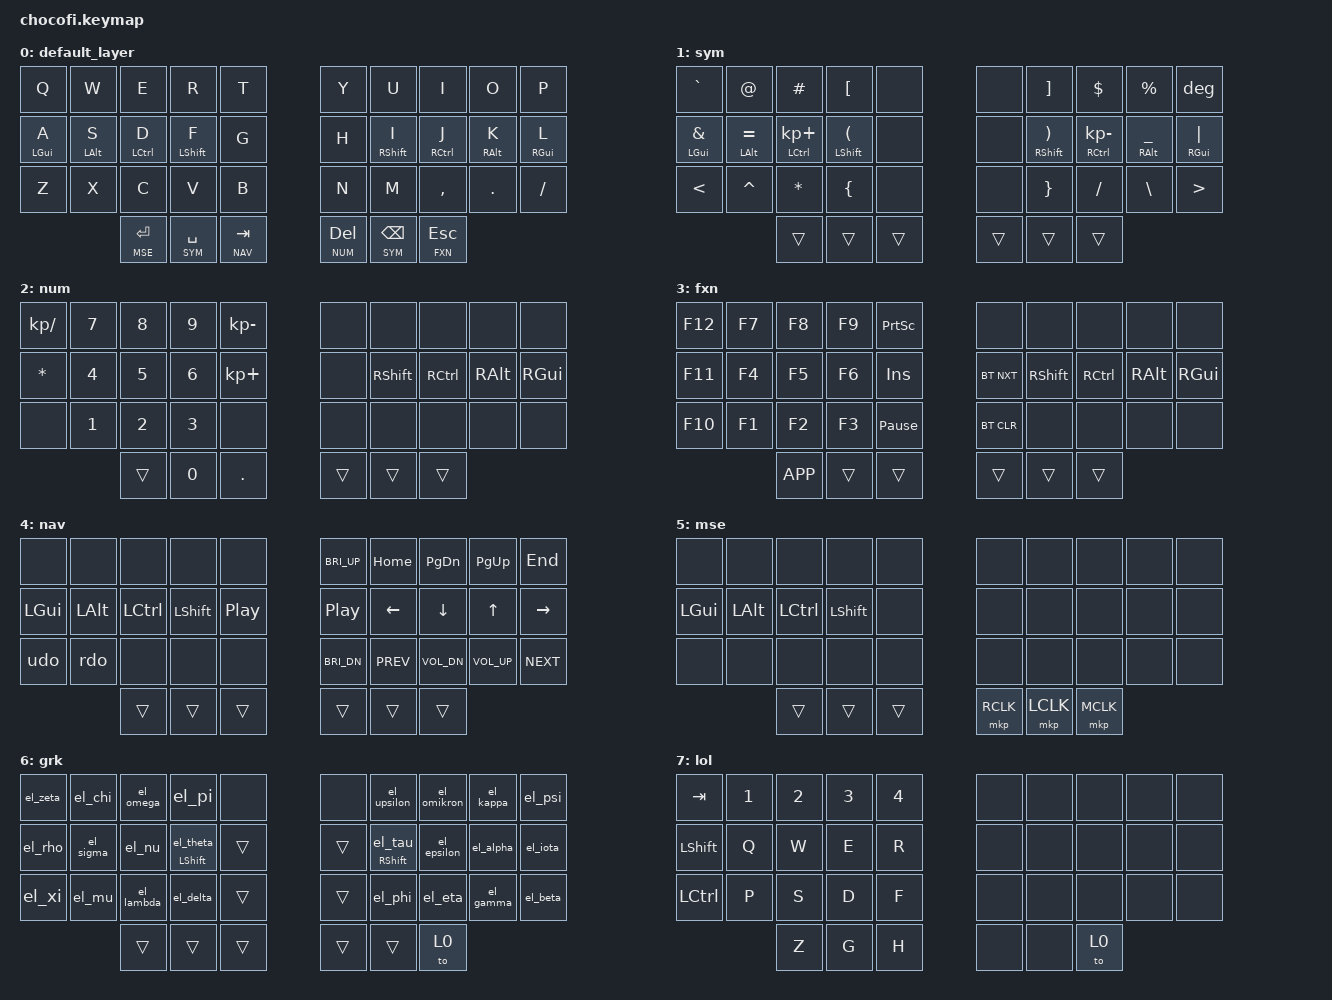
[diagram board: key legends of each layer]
#include <behaviors.dtsi>
#include <dt-bindings/zmk/keys.h>
#include <dt-bindings/zmk/bt.h>
#include <dt-bindings/zmk/mouse.h>
#include "helper.h"
#include "greek.dtsi"

#define DEFAULT	0
#define SYM	1
#define NUM	2
#define FXN	3
#define NAV	4
#define MSE	5
#define GRK	6
#define LOL	7

/ {
	macros {
		deg: deg {
			label = "deg";
			compatible = "zmk,behavior-macro";
			#binding-cells = <0>;
			bindings
				= <&macro_release &kp LSHFT>
				, <&macro_press   &kp LALT>
				, <&macro_tap     &kp KP_N0 &kp KP_N1 &kp KP_N7 &kp KP_N6>
				, <&macro_release &kp LALT>
				;
		};
		udo: udo {
			label = "udo";
			compatible = "zmk,behavior-macro";
			#binding-cells = <0>;
			bindings
				= <&macro_press   &kp LCTRL>
				, <&macro_tap     &kp Z>
				, <&macro_release &kp LCTRL>
				;
		};
		rdo: rdo {
			label = "rdo";
			compatible = "zmk,behavior-macro";
			#binding-cells = <0>;
			bindings
				= <&macro_press   &kp LCTRL>
				, <&macro_tap     &kp Y>
				, <&macro_release &kp LCTRL>
				;
		};
		altf4: altf4 {
			label = "altf4";
			compatible = "zmk,behavior-macro";
			#binding-cells = <0>;
			bindings
				= <&macro_press   &kp LALT>
				, <&macro_tap     &kp F4>
				, <&macro_release &kp LALT>
				;
		};
		th: th {
			label = "th";
			compatible = "zmk,behavior-macro";
			#binding-cells = <0>;
			bindings
				= <&macro_tap     &kp T>
				, <&macro_release &kp RSHFT>
				, <&macro_tap     &kp H>
				;
		};
		wh: wh {
			label = "wh";
			compatible = "zmk,behavior-macro";
			#binding-cells = <0>;
			bindings
				= <&macro_tap     &kp W>
				, <&macro_release &kp RSHFT>
				, <&macro_tap     &kp H>
				;
		};
		ch: ch {
			label = "ch";
			compatible = "zmk,behavior-macro";
			#binding-cells = <0>;
			bindings
				= <&macro_tap     &kp C>
				, <&macro_release &kp RSHFT>
				, <&macro_tap     &kp H>
				;
		};
		sh: sh {
			label = "sh";
			compatible = "zmk,behavior-macro";
			#binding-cells = <0>;
			bindings
				= <&macro_tap     &kp S>
				, <&macro_release &kp RSHFT>
				, <&macro_tap     &kp H>
				;
		};
		ph: ph {
			label = "ph";
			compatible = "zmk,behavior-macro";
			#binding-cells = <0>;
			bindings
				= <&macro_tap     &kp P>
				, <&macro_release &kp RSHFT>
				, <&macro_tap     &kp H>
				;
		};
		gh: gh {
			label = "gh";
			compatible = "zmk,behavior-macro";
			#binding-cells = <0>;
			bindings
				= <&macro_tap     &kp G>
				, <&macro_release &kp LSHFT>
				, <&macro_tap     &kp H>
				;
		};
		qu: qu {
			label = "qu";
			compatible = "zmk,behavior-macro";
			#binding-cells = <0>;
			bindings
				= <&macro_tap     &kp Q>
				, <&macro_release &kp LSHFT>
				, <&macro_tap     &kp U>
				;
		};
		ing: ing {
			label = "ing";
			compatible = "zmk,behavior-macro";
			#binding-cells = <0>;
			bindings
				= <&macro_tap     &kp I &kp N &kp G>
				;
		};
	};
	combos {
		compatible = "zmk,combos";
		combo_ch {
			timeout-ms = <30>;
			key-positions = <0 1>;
			bindings = <&ch>;
			};
		combo_wh {
			timeout-ms = <30>;
			key-positions = <1 2>;
			bindings = <&wh>;
			};
		combo_ph {
			timeout-ms = <30>;
			key-positions = <2 3>;
			bindings = <&ph>;
			};
		combo_sh {
			timeout-ms = <30>;
			key-positions = <10 11>;
			bindings = <&sh>;
			};
		combo_th {
			timeout-ms = <30>;
			key-positions = <12 13>;
			bindings = <&th>;
			};
		combo_gh {
			timeout-ms = <30>;
			key-positions = <28 29>;
			bindings = <&gh>;
			};
		combo_qu {
			timeout-ms = <30>;
			key-positions = <8 9>;
			bindings = <&qu>;
			};
		combo_ing {
			timeout-ms = <30>;
			key-positions = <18 19>;
			bindings = <&ing>;
			};
		combo_caps_word {
			timeout-ms = <50>;
			key-positions = <13 16>;
			bindings = <&caps_word>;
			};
		combo_greek_sticky_layer {
			timeout-ms = <30>;
			key-positions = <31 34>;
			bindings = <&to 6>;
			};
		combo_alt_f4 {
			timeout-ms = <30>;
			key-positions = <4 30>;
			bindings = <&altf4>;
			};
		combo_lol {
			timeout-ms = <30>;
			key-positions = <20 29>;
			bindings = <&to 7>;
			};
		};
	behaviors {
		per_com: per_com {								// . ,
			compatible = "zmk,behavior-mod-morph";
			label = "per_com";
			#binding-cells = <0>;
			bindings = <&kp PERIOD>, <&kp COMMA>;
			mods = <(MOD_LSFT|MOD_RSFT)>;
		};
		exc_que: exc_que {								// ! ?
			compatible = "zmk,behavior-mod-morph";
			label = "exc_que";
			#binding-cells = <0>;
			bindings = <&kp EXCL>, <&kp QMARK>;
			mods = <(MOD_LSFT|MOD_RSFT)>;
		};
		thml: timeless_homerow_mods_left {
			compatible = "zmk,behavior-hold-tap";
			#binding-cells = <2>;
 			flavor = "balanced";
			tapping-term-ms = <280>;
			quick-tap-ms = <175>;                // repeat on tap-into-hold
			require-prior-idle-ms = <100>;
			bindings = <&kp>, <&kp>;
			hold-trigger-key-positions = <5 6 7 8 9 15 16 17 18 19 25 26 27 28 29 30 31 32 33 34 35>;
			hold-trigger-on-release;             // delay positional check until key-release
		};
		thmls: timeless_homerow_mods_left_shift {
			compatible = "zmk,behavior-hold-tap";
			#binding-cells = <2>;
 			flavor = "balanced";
			tapping-term-ms = <280>;
			quick-tap-ms = <175>;                // repeat on tap-into-hold
			bindings = <&kp>, <&kp>;
			hold-trigger-key-positions = <5 6 7 8 9 15 16 17 18 19 25 26 27 28 29 30 31 32 33 34 35>;
			hold-trigger-on-release;             // delay positional check until key-release
		};
		thmr: timeless_homerow_mods_right {
			compatible = "zmk,behavior-hold-tap";
			#binding-cells = <2>;
 			flavor = "balanced";
			tapping-term-ms = <280>;
			quick-tap-ms = <175>;                // repeat on tap-into-hold
			require-prior-idle-ms = <100>;
			bindings = <&kp>, <&kp>;
			hold-trigger-key-positions = <0 1 2 3 4 10 11 12 13 14 20 21 22 23 24 30 31 32 33 34 35>;
			hold-trigger-on-release;             // delay positional check until key-release
		};
		thmrs: timeless_homerow_mods_right_shift {
			compatible = "zmk,behavior-hold-tap";
			#binding-cells = <2>;
 			flavor = "balanced";
			tapping-term-ms = <280>;
			quick-tap-ms = <175>;                // repeat on tap-into-hold
			bindings = <&kp>, <&kp>;
			hold-trigger-key-positions = <0 1 2 3 4 10 11 12 13 14 20 21 22 23 24 30 31 32 33 34 35>;
			hold-trigger-on-release;             // delay positional check until key-release
		};
		grk_lshft: greek_left_shift {
			compatible = "zmk,behavior-hold-tap";
			#binding-cells = <2>;
 			flavor = "balanced";
			tapping-term-ms = <280>;
			quick-tap-ms = <175>;
			require-prior-idle-ms = <50>;
			bindings = <&kp>, <&el_theta>;
			hold-trigger-key-positions = <5 6 7 8 9 15 16 17 18 19 25 26 27 28 29 30 31 32 33 34 35>;
			hold-trigger-on-release;
		};
		grk_rshft: greek_right_shift {
			compatible = "zmk,behavior-hold-tap";
			#binding-cells = <2>;
 			flavor = "balanced";
			tapping-term-ms = <280>;
			quick-tap-ms = <175>;
			require-prior-idle-ms = <50>;
			bindings = <&kp>, <&el_tau>;
			hold-trigger-key-positions = <0 1 2 3 4 10 11 12 13 14 20 21 22 23 24 30 31 32 33 34 35>;
			hold-trigger-on-release;
		};
	};

	keymap {
		compatible = "zmk,keymap";

        default_layer {
// -------------------------------------------------------------------------------------------------------------------------
// |    Q    |    W    |    E    |    R    |    T    |                   |    Y    |    U    |    I    |    O    |    P    |
// |    A    |    S    |    D    |    F    |    G    |                   |    H    |    J    |    K    |    L    |    ;    |
// |    Z    |    X    |    C    |    V    |    B    |                   |    N    |    M    |    ,    |    .    |    /    |
//           		   |   ETR   |   SPC   |   TAB   |            |   DEL   |   BSP   |   SYM   |
//                             num	 sym	   nav			  nav	    sym	      fxn
        	bindings = <
&kp Q			&kp W			&kp E			&kp R			&kp T				&kp Y			&kp U			&kp I			&kp O			&kp P
&thml LGUI A		&thml LALT S		&thml LCTRL D		&thmls LSHFT F		&kp G				&kp H			&thmrs RSHFT I		&thmr RCTRL J		&thmr RALT K		&thmr RGUI L
&kp Z			&kp X			&kp C			&kp V			&kp B				&kp N			&kp M			&kp COMMA		&kp PERIOD		&kp FSLH
						&lt MSE ENTER		&lt SYM SPACE		&lt NAV TAB			&lt NUM DEL 		&lt SYM BSPC		&lt FXN ESC
            >;
        };

	// Symbolic layer
        sym {
		bindings = <
&kp GRAVE		&kp AT			&kp HASH		&kp LBKT		&none				&none			&kp RBKT		&kp DLLR     		&kp PRCNT     		&deg
&thml LGUI AMPS		&thml LALT EQUAL	&thml LCTRL KP_PLUS 	&thml LSHFT LPAR	&none				&none			&thmr RSHFT RPAR	&thmr RCTRL KP_MINUS 	&thmr RALT UNDER	&thmr RGUI PIPE
&kp LT 			&kp CARET		&kp ASTRK		&kp LBRC		&none				&none 			&kp RBRC		&kp FSLH		&kp BSLH		&kp GT
						&trans			&trans			&trans		  		&trans			&trans    		&trans
            >;
        };

		
	// Numpad layer
	num {
        	bindings = <
&kp KP_SLASH   		&kp N7			&kp N8    		&kp N9			&kp KP_MINUS 			&none			&none    		&none			&none        		&none		
&kp ASTRK		&kp N4			&kp N5			&kp N6			&kp KP_PLUS			&none			&kp RSHFT		&kp RCTRL		&kp RALT		&kp RGUI		
&none	 		&kp N1			&kp N2			&kp N3			&none				&none	  		&none  			&none 	  		&none			&none	         		
						&trans			&kp N0    		&kp PERIOD			&trans			&trans			&trans 
            >;
        };

	// Function key layer
	fxn {
        	bindings = <
&kp F12			&kp F7			&kp F8    		&kp F9			&kp PSCRN      			&none    		&none			&none    		&none			&none	 
&kp F11			&kp F4			&kp F5			&kp F6			&kp INS				&bt BT_NXT    		&kp RSHFT		&kp RCTRL		&kp RALT		&kp RGUI
&kp F10  		&kp F1 			&kp F2 	  		&kp F3			&kp PAUSE_BREAK        		&bt BT_CLR    		&none			&none    		&none			&none
						&kp K_APP		&trans			&trans  			&trans			&trans    		&trans
            >;
        };

	// Navigation layer
        nav {
        	bindings = <
&none			&none			&none			&none			&none		       		&kp C_BRI_UP		&kp HOME		&kp PG_DN 		&kp PG_UP		&kp END
&kp LGUI		&kp LALT		&kp LCTRL		&kp LSHFT		&kp C_PP            		&kp C_PP		&kp LEFT		&kp DOWN  		&kp UP			&kp RIGHT  
&udo			&rdo			&none			&none			&none	          		&kp C_BRI_DN		&kp C_PREV		&kp C_VOL_DN		&kp C_VOL_UP		&kp C_NEXT
						&trans			&trans			&trans  			&trans			&trans    		&trans
            >;
        };

	// Mouse Emulation Layer
	mse {
            	bindings = <
&none			&none			&none    		&none			&none        			&none			&none			&none    		&none			&none
&kp LGUI		&kp LALT		&kp LCTRL		&kp LSHFT		&none				&none			&none			&none    		&none			&none 
&none	  		&none  			&none 	  		&none			&none	         		&none			&none			&none    		&none			&none 
						&trans			&trans			&trans  			&mkp RCLK		&mkp LCLK    		&mkp MCLK
            >;
        };

	// Greek Layer
	grk {
		bindings = <
&el_zeta		&el_chi			&el_omega		&el_pi			&none				&none			&el_upsilon		&el_omikron		&el_kappa		&el_psi
&el_rho			&el_sigma		&el_nu			&grk_lshft LSHFT 0	&trans				&trans			&grk_rshft RSHFT 0	&el_epsilon		&el_alpha		&el_iota
&el_xi			&el_mu			&el_lambda		&el_delta		&trans				&trans			&el_phi			&el_eta			&el_gamma		&el_beta
						&trans			&trans			&trans				&trans	 		&trans			&to 0
            >;
        };
	// League of Legends Layer
	lol {
		bindings = <
&kp TAB			&kp N1			&kp N2			&kp N3			&kp N4				&none			&none			&none			&none			&none
&kp LSHFT		&kp Q			&kp W			&kp E			&kp R				&none			&none			&none			&none			&none
&kp LCTRL		&kp P			&kp S			&kp D			&kp F				&none			&none			&none			&none			&none
						&kp Z			&kp G			&kp H				&none	 		&none			&to 0
            >;
        };
    };
};
